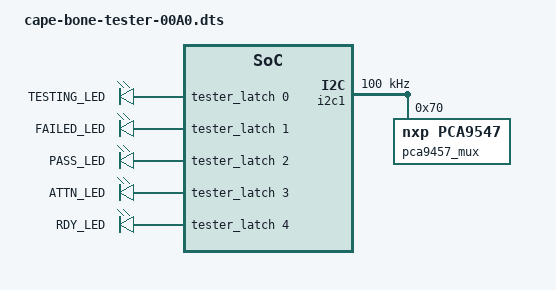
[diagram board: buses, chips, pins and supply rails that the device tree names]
/*
 * Copyright (C) 2013 CircuitCo
 *
 * This program is free software; you can redistribute it and/or modify
 * it under the terms of the GNU General Public License version 2 as
 * published by the Free Software Foundation.
 */
/dts-v1/;
/plugin/;

/ {
	compatible = "ti,beaglebone", "ti,beaglebone-black";

	/* identification */
	part-number = "BB-BONE-TESTER";
	version = "00A0";

	fragment@0 {
		target = <&am33xx_pinmux>;
		__overlay__ {
			bone_tester_none_gpio_pins: pinmux_bone_tester_none_gpio_pins {
				pinctrl-single,pins = <
					/* nothing */
				>;
			};
			bone_tester_input_gpio_pins: pinmux_bone_tester_input_gpio_pins {
				pinctrl-single,pins = <
					/* P8 connector on the bone */
					/* P3 - P46 pins, B_A3-B_A46, INPUT | PULLDIS | MODE7 */
					0x018 0x2f /*  3 GPIO1_6    gpmc_ad6.gpio1[6]      */
					0x01C 0x2f /*  4 GPIO1_7    gpmc_ad7.gpio1[7]      */
					0x008 0x2f /*  5 GPIO1_2    gpmc_ad2.gpio1[2]      */
					0x00C 0x2f /*  6 GPIO1_3    gpmc_ad3.gpio1[3]      */
					0x090 0x2f /*  7 TIMER4     gpmc_advn_ale.gpio2[2] */
					0x094 0x2f /*  8 TIMER7     gpmc_oen_ren.gpio2[3]  */
					0x09C 0x2f /*  9 TIMER5     gpmc_ben0_cle.gpio2[5] */
					0x098 0x2f /* 10 TIMER6     gpmc_wen.gpio2[4]      */
					0x034 0x2f /* 11 GPIO1_13   gpmc_ad13.gpio1[13]    */
					0x030 0x2f /* 12 GPIO1_12   gpmc_ad12.gpio1[12]    */
					0x024 0x2f /* 13 EHRPWM2B   gpmc_ad9 .gpio0[23]    */
					0x028 0x2f /* 14 GPIO0_26   gpmc_ad10.gpio0[26]    */
					0x03C 0x2f /* 15 GPIO1_15   gpmc_ad15.gpio1[15]    */
					0x038 0x2f /* 16 GPIO1_14   gpmc_ad14.gpio1[14]    */
					0x02C 0x2f /* 17 GPIO0_27   gpmc_ad11.gpio0[27]    */
					0x08C 0x2f /* 18 GPIO2_1    gpmc_clk .gpio2[1]     */
					0x020 0x2f /* 19 EHRPWM2A   gpmc_ad8 .gpio0[22]    */
					0x084 0x2f /* 20 GPIO1_31   gpmc_csn2.gpio1[31]    */
					0x080 0x2f /* 21 GPIO1_30   gpmc_csn1.gpio1[30]    */
					0x014 0x2f /* 22 GPIO1_5    gpmc_ad5 .gpio1[5]     */
					0x010 0x2f /* 23 GPIO1_4    gpmc_ad4 .gpio1[4]     */
					0x004 0x2f /* 24 GPIO1_1    gpmc_ad1 .gpio1[1]     */
					0x000 0x2f /* 25 GPIO1_0    gpmc_ad0 .gpio1[0]     */
					0x07C 0x2f /* 26 GPIO1_29   gpmc_csn0.gpio1[29]    */
					0x0E0 0x2f /* 27 GPIO2_22   lcd_vsync.gpio2[22]    */
					0x0E8 0x2f /* 28 GPIO2_24   lcd_pclk .gpio2[24]    */
					0x0E4 0x2f /* 29 GPIO2_23   lcd_hsync.gpio2[23]    */
					0x0EC 0x2f /* 30 GPIO2_25   lcd_ac_bias_en.gpio2[25] */
					0x0D8 0x2f /* 31 UART5_CTSN lcd_data14.gpio0[10]   */
					0x0DC 0x2f /* 32 UART5_RTSN lcd_data15.gpio0[11]   */
					0x0D4 0x2f /* 33 UART4_RTSN lcd_data13.gpio0[9]    */
					0x0CC 0x2f /* 34 UART3_RTSN lcd_data11.gpio2[17]   */
					0x0D0 0x2f /* 35 UART4_CTSN lcd_data12.gpio0[8]    */
					0x0C8 0x2f /* 36 UART3_CTSN lcd_data10.gpio2[16]   */
					0x0C0 0x2f /* 37 UART5_TXD  lcd_data8.gpio2[14]    */
					0x0C4 0x2f /* 38 UART5_RXD  lcd_data9.gpio2[15]    */
					0x0B8 0x2f /* 39 GPIO2_12   lcd_data6.gpio2[12]    */
					0x0BC 0x2f /* 40 GPIO2_13   lcd_data7.gpio2[13]    */
					0x0B0 0x2f /* 41 GPIO2_10   lcd_data4.gpio2[10]    */
					0x0B4 0x2f /* 42 GPIO2_11   lcd_data5.gpio2[11]    */
					0x0A8 0x2f /* 43 GPIO2_8    lcd_data2.gpio2[8]     */
					0x0AC 0x2f /* 44 GPIO2_9    lcd_data3.gpio2[9]     */
					0x0A0 0x2f /* 45 GPIO2_6    lcd_data0.gpio2[6]     */
					0x0A4 0x2f /* 46 GPIO2_7    lcd_data1.gpio2[7]     */

					/* P9 connector on the bone */
					/* B_B0-B_B19, INPUT | PULLDIS | MODE7 */
					0x070 0x2f /* 11 UART4_RXD  gpmc_wait0.gpio0[30]   */
					0x078 0x2f /* 12 GPIO1_28   gpmc_be1n.gpio1[28]    */
					0x074 0x2f /* 13 UART4_TXD  gpmc_wpn.gpio0[31]     */
					0x048 0x2f /* 14 EHRPWM1A   gpmc_a2.gpio1[18]      */
					0x040 0x2f /* 15 GPIO1_16   gpmc_a0.gpio1[16]      */
					0x04C 0x2f /* 16 EHRPWM1B   gpmc_a3.gpio1[19]      */

					/* err, those two are used for I2C2 on the beaglebone */
					/* you should boot with I2C2 disabled on the tester */
					0x17C 0x2f /* 19 I2C2_SCL   uart1_rtsn.gpio0[13]   */
					0x178 0x2f /* 20 I2C2_SDA   uart1_ctsn.gpio0[12]   */

					0x154 0x2f /* 21 UART2_TXD  spi0_d0.gpio0[3]       */
					0x150 0x2f /* 22 UART2_RXD  spi0_sclk.gpio0[2]     */
					0x044 0x2f /* 23 GPIO1_17   gpmc_a1.gpio1[17]      */
					0x184 0x2f /* 24 UART1_TXD  uart1_txd.gpio0[15]    */
					0x1AC 0x2f /* 25 GPIO3_21   mcasp0_ahclkx.gpio3[21]*/
					0x180 0x2f /* 26 UART1_RXD  uart1_rxd.gpio0[14]    */
					0x1A4 0x2f /* 27 GPIO3_19   mcasp0_fsr.gpio3[19]   */
					0x19C 0x2f /* 28 SPI1_CS0   mcasp0_ahclkr.gpio3[17]*/
					0x198 0x2f /* 30 SPI1_D1    mcasp0_axr0.gpio3[16]  */
					0x190 0x2f /* 31 SPI1_SCLK  mcasp0_aclkx.gpio3[14] */
					0x1B4 0x2f /* 41 CLKOUT2    xdma_event_intr1.gpio0[20]*/
					0x164 0x2f /* 42 GPIO0_7    eCAP0_in_PWM0_out.gpio0[7]*/
				>;
			};

			bone_tester_output_gpio_pins: pinmux_bone_tester_output_gpio_pins {
				pinctrl-single,pins = <
					/* P8 connector on the bone */
					/* P3 - P46 pins, B_A3-B_A46, OUTPUT | MODE7 */
					0x018 0x07 /*  3 GPIO1_6    gpmc_ad6.gpio1[6]      */
					0x01C 0x07 /*  4 GPIO1_7    gpmc_ad7.gpio1[7]      */
					0x008 0x07 /*  5 GPIO1_2    gpmc_ad2.gpio1[2]      */
					0x00C 0x07 /*  6 GPIO1_3    gpmc_ad3.gpio1[3]      */
					0x090 0x07 /*  7 TIMER4     gpmc_advn_ale.gpio2[2] */
					0x094 0x07 /*  8 TIMER7     gpmc_oen_ren.gpio2[3]  */
					0x09C 0x07 /*  9 TIMER5     gpmc_ben0_cle.gpio2[5] */
					0x098 0x07 /* 10 TIMER6     gpmc_wen.gpio2[4]      */
					0x034 0x07 /* 11 GPIO1_13   gpmc_ad13.gpio1[13]    */
					0x030 0x07 /* 12 GPIO1_12   gpmc_ad12.gpio1[12]    */
					0x024 0x07 /* 13 EHRPWM2B   gpmc_ad9 .gpio0[23]    */
					0x028 0x07 /* 14 GPIO0_26   gpmc_ad10.gpio0[26]    */
					0x03C 0x07 /* 15 GPIO1_15   gpmc_ad15.gpio1[15]    */
					0x038 0x07 /* 16 GPIO1_14   gpmc_ad14.gpio1[14]    */
					0x02C 0x07 /* 17 GPIO0_27   gpmc_ad11.gpio0[27]    */
					0x08C 0x07 /* 18 GPIO2_1    gpmc_clk .gpio2[1]     */
					0x020 0x07 /* 19 EHRPWM2A   gpmc_ad8 .gpio0[22]    */
					0x084 0x07 /* 20 GPIO1_31   gpmc_csn2.gpio1[31]    */
					0x080 0x07 /* 21 GPIO1_30   gpmc_csn1.gpio1[30]    */
					0x014 0x07 /* 22 GPIO1_5    gpmc_ad5 .gpio1[5]     */
					0x010 0x07 /* 23 GPIO1_4    gpmc_ad4 .gpio1[4]     */
					0x004 0x07 /* 24 GPIO1_1    gpmc_ad1 .gpio1[1]     */
					0x000 0x07 /* 25 GPIO1_0    gpmc_ad0 .gpio1[0]     */
					0x07C 0x07 /* 26 GPIO1_29   gpmc_csn0.gpio1[29]    */
					0x0E0 0x07 /* 27 GPIO2_22   lcd_vsync.gpio2[22]    */
					0x0E8 0x07 /* 28 GPIO2_24   lcd_pclk .gpio2[24]    */
					0x0E4 0x07 /* 29 GPIO2_23   lcd_hsync.gpio2[23]    */
					0x0EC 0x07 /* 30 GPIO2_25   lcd_ac_bias_en.gpio2[25] */
					0x0D8 0x07 /* 31 UART5_CTSN lcd_data14.gpio0[10]   */
					0x0DC 0x07 /* 32 UART5_RTSN lcd_data15.gpio0[11]   */
					0x0D4 0x07 /* 33 UART4_RTSN lcd_data13.gpio0[9]    */
					0x0CC 0x07 /* 34 UART3_RTSN lcd_data11.gpio2[17]   */
					0x0D0 0x07 /* 35 UART4_CTSN lcd_data12.gpio0[8]    */
					0x0C8 0x07 /* 36 UART3_CTSN lcd_data10.gpio2[16]   */
					0x0C0 0x07 /* 37 UART5_TXD  lcd_data8.gpio2[14]    */
					0x0C4 0x07 /* 38 UART5_RXD  lcd_data9.gpio2[15]    */
					0x0B8 0x07 /* 39 GPIO2_12   lcd_data6.gpio2[12]    */
					0x0BC 0x07 /* 40 GPIO2_13   lcd_data7.gpio2[13]    */
					0x0B0 0x07 /* 41 GPIO2_10   lcd_data4.gpio2[10]    */
					0x0B4 0x07 /* 42 GPIO2_11   lcd_data5.gpio2[11]    */
					0x0A8 0x07 /* 43 GPIO2_8    lcd_data2.gpio2[8]     */
					0x0AC 0x07 /* 44 GPIO2_9    lcd_data3.gpio2[9]     */
					0x0A0 0x07 /* 45 GPIO2_6    lcd_data0.gpio2[6]     */
					0x0A4 0x07 /* 46 GPIO2_7    lcd_data1.gpio2[7]     */

					/* P9 connector on the bone */
					/* B_B0-B_B19, INPUT | PULLDIS | MODE7 */
					0x070 0x07 /* 11 UART4_RXD  gpmc_wait0.gpio0[30]   */
					0x078 0x07 /* 12 GPIO1_28   gpmc_be1n.gpio1[28]    */
					0x074 0x07 /* 13 UART4_TXD  gpmc_wpn.gpio0[31]     */
					0x048 0x07 /* 14 EHRPWM1A   gpmc_a2.gpio1[18]      */
					0x040 0x07 /* 15 GPIO1_16   gpmc_a0.gpio1[16]      */
					0x04C 0x07 /* 16 EHRPWM1B   gpmc_a3.gpio1[19]      */

					/* err, those two are used for I2C2 on the beaglebone */
					/* you should boot with I2C2 disabled on the tester */
					0x17C 0x07 /* 19 I2C2_SCL   uart1_rtsn.gpio0[13]   */
					0x178 0x07 /* 20 I2C2_SDA   uart1_ctsn.gpio0[12]   */

					0x154 0x07 /* 21 UART2_TXD  spi0_d0.gpio0[3]       */
					0x150 0x07 /* 22 UART2_RXD  spi0_sclk.gpio0[2]     */
					0x044 0x07 /* 23 GPIO1_17   gpmc_a1.gpio1[17]      */
					0x184 0x07 /* 24 UART1_TXD  uart1_txd.gpio0[15]    */
					0x1AC 0x07 /* 25 GPIO3_21   mcasp0_ahclkx.gpio3[21]*/
					0x180 0x07 /* 26 UART1_RXD  uart1_rxd.gpio0[14]    */
					0x1A4 0x07 /* 27 GPIO3_19   mcasp0_fsr.gpio3[19]   */
					0x19C 0x07 /* 28 SPI1_CS0   mcasp0_ahclkr.gpio3[17]*/
					0x198 0x07 /* 30 SPI1_D1    mcasp0_axr0.gpio3[16]  */
					0x190 0x07 /* 31 SPI1_SCLK  mcasp0_aclkx.gpio3[14] */
					0x1B4 0x07 /* 41 CLKOUT2    xdma_event_intr1.gpio0[20]*/
					0x164 0x07 /* 42 GPIO0_7    eCAP0_in_PWM0_out.gpio0[7]*/
				>;
			};

			bone_tester_i2c1_pins: pinmux_bone_tester_i2c1_pins {
				pinctrl-single,pins = <
					0x158 0x72	/* spi0_d1.i2c1_sda, SLEWCTRL_SLOW | INPUT_PULLUP | MODE2 */
					0x15c 0x72	/* spi0_cs0.i2c1_scl, SLEWCTRL_SLOW | INPUT_PULLUP | MODE2 */
				>;
			};

			bone_tester_jhd629_pins: pinmux_bone_tester_jhd629_pins {
				pinctrl-single,pins = <
					0x194 0x37 	/* mcasp0_fsx.gpio3_15, OMAP_MUX_MODE7 | INPUT_PULLUP */
				>;
			};
		};
	};

	fragment@1 {
		target = <&i2c1>;
		__overlay__ {
			#address-cells = <1>;
			#size-cells = <0>;
			pinctrl-names = "default";
			pinctrl-0 = <&bone_tester_i2c1_pins>;
			status = "okay";
			clock-frequency = <100000>;
		};
	};

	fragment@2 {
		target = <&i2c1>;
		__overlay__ {
			/* needed to avoid gripping by DTC */
			#address-cells = <1>;
			#size-cells = <0>;

			/* pca9457 */
			pca9457_mux {
				compatible = "nxp,pca9547";
				status = "okay";

				#address-cells = <1>;
				#size-cells = <0>;
				reg = <0x70>;

				bus@0 {	/* LCD/KEY */
					compatible = "nxp,pca954x-bus";
					status = "okay";
					nxp,pca95x-class = <0x0>;
					reg = <0x0>;
					nxp,deselect-on-exit;
					#address-cells = <1>;
					#size-cells = <0>;

					jhd629@31 {
						compatible = "jhd,jhd629";
						status = "okay";
						reg = <0x31>;

						pinctrl-names = "default";
						pinctrl-0 = <&bone_tester_jhd629_pins>;

						rows = <4>;
						columns = <20>;
						keymap = "123A456B789C*0#D";
						poll-period = <250>;	/* poll every 250ms */
						// gpios = <&gpio4 15 0>;	/* keypad interrupt */
					};
				};

				bus@1 {	/* LATCH */
					compatible = "nxp,pca954x-bus";
					status = "okay";
					nxp,pca95x-class = <0x0>;
					reg = <0x1>;
					nxp,deselect-on-exit;
					#address-cells = <1>;
					#size-cells = <0>;

					tester_latch: latch@38 {
						/*
						 * TESTING_LED
						 * FAILED_LED
						 * ATTN_LED
						 * RDY_LED
						 * DC_RELAY
						 * PWRBUT_RELAY
						 * RESET_RELAY
						 */
						compatible = "nxp,pcf8574";
						status = "okay";
						reg = <0x38>;
						gpio-controller;
						#gpio-cells = <2>;

					};
				};

				bus@2 {	/* SOLENOIDS */
					compatible = "nxp,pca954x-bus";
					status = "okay";
					nxp,pca95x-class = <0x0>;
					reg = <0x2>;
					nxp,deselect-on-exit;
					#address-cells = <1>;
					#size-cells = <0>;

					grove@f {
						compatible = "grove";
						status = "okay";
						reg = <0x0f>;
					};
				};

				bus@3 {	/* RTC */
					compatible = "nxp,pca954x-bus";
					status = "okay";
					nxp,pca95x-class = <0x0>;
					reg = <0x3>;
					nxp,deselect-on-exit;
					#address-cells = <1>;
					#size-cells = <0>;

					rtc@68 {
						compatible = "dallas,ds1307";
						status = "okay";
						reg = <0x68>;
					};
				};

				bus@4 {	/* INA219 */
					compatible = "nxp,pca954x-bus";
					status = "okay";
					nxp,pca95x-class = <0x0>;
					reg = <0x4>;
					nxp,deselect-on-exit;
					#address-cells = <1>;
					#size-cells = <0>;

					ina@40 {
						compatible = "ti,ina219";
						status = "okay";
						reg = <0x40>;
					};
				};

				bus@5 {	/* BUFFERS */
					compatible = "nxp,pca954x-bus";
					status = "okay";
					nxp,pca95x-class = <0x0>;
					reg = <0x5>;
					nxp,deselect-on-exit;
					#address-cells = <1>;
					#size-cells = <0>;

					tester_buffers: latch@39 {
						/*
						 * TxD_BUFFER
						 * RxD_BUFFER
						 * OE_BUFFER
						 * DIR_BUFFER
						 * CTRL_EEPROM_WP
						 */
						compatible = "nxp,pcf8574";
						status = "okay";
						reg = <0x39>;
						gpio-controller;
						#gpio-cells = <2>;
					};
				};
			};
		};
	};

	fragment@3 {
		target = <&ocp>;
		__overlay__ {

			gpio-leds-tester {
				compatible = "gpio-leds";

				/* note we don't use tester:<color>:<function> */
				led0 {
					label = "TESTING_LED";
					gpios = <&tester_latch 0 0>;
					linux,default-trigger = "none";
					default-state = "off";
				};

				led1 {
					label = "FAILED_LED";
					gpios = <&tester_latch 1 0>;
					linux,default-trigger = "none";
					default-state = "off";
				};

				led2 {
					label = "PASS_LED";
					gpios = <&tester_latch 2 0>;
					linux,default-trigger = "none";
					default-state = "off";
				};

				led3 {
					label = "ATTN_LED";
					gpios = <&tester_latch 3 0>;
					linux,default-trigger = "none";
					default-state = "off";
				};

				led4 {
					label = "RDY_LED";
					gpios = <&tester_latch 4 0>;
					linux,default-trigger = "none";
					default-state = "off";
				};
			};
		};

	};

	fragment@4 {
		target = <&ocp>;
		__overlay__ {

			tester_pinmux_helper {
				compatible = "bone-pinmux-helper";
				status = "okay";

				pinctrl-names = /* "default", */ "input", "output";
				// pinctrl-0 = <&bone_tester_none_gpio_pins>;
				pinctrl-0 = <&bone_tester_input_gpio_pins>;
				pinctrl-1 = <&bone_tester_output_gpio_pins>;
			};
		};

	};
};
